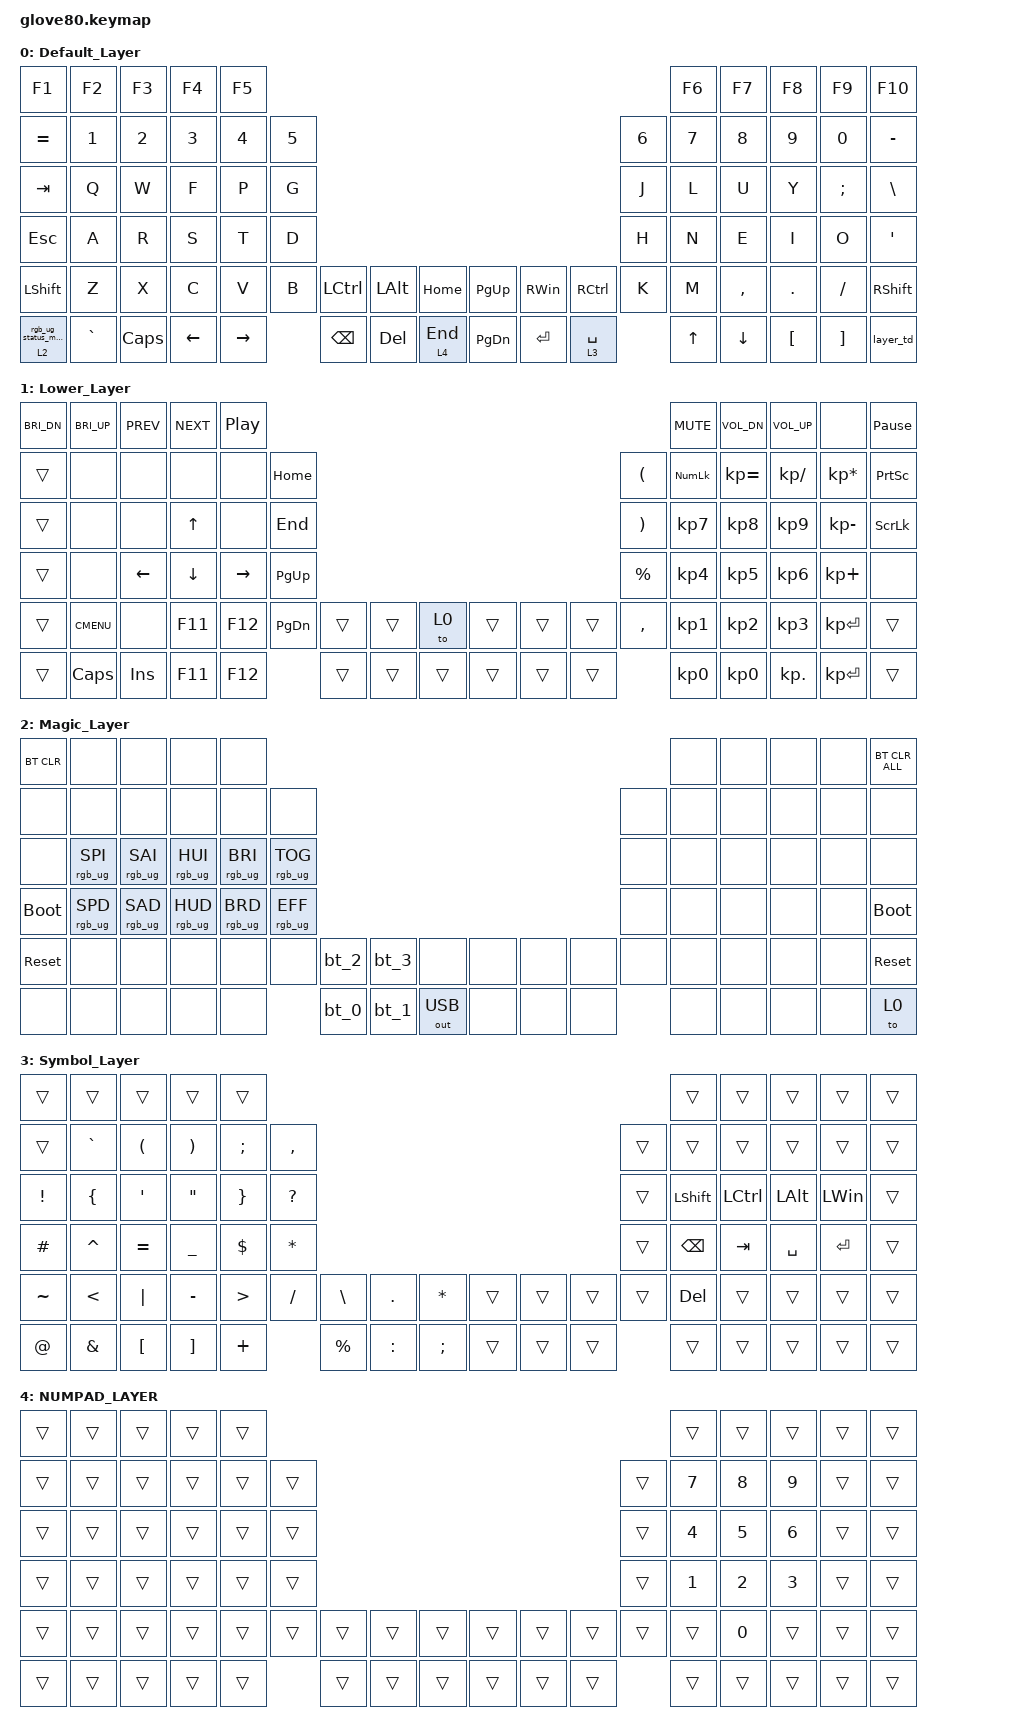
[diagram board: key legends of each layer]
/*
 * Copyright (c) 2020 The ZMK Contributors
 *
 * SPDX-License-Identifier: MIT
 */

#include <behaviors.dtsi>
#include <dt-bindings/zmk/bt.h>
#include <dt-bindings/zmk/keys.h>
#include <dt-bindings/zmk/outputs.h>
#include <dt-bindings/zmk/rgb.h>

#define HYPER LC(LS(LG(LALT)))

// layers

#define DEFAULT 0
#define LOWER 1
#define MAGIC 2
#define FACTORY_TEST 3

/ {
    behaviors {
        // For the "layer" key, it'd nice to be able to use it as either a shift or a toggle.
        // Configure it as a tap dance, so the first tap (or hold) is a &mo and the second tap is a &to

        layer_td: tap_dance_0 {
            compatible = "zmk,behavior-tap-dance";
            label = "LAYER_TAP_DANCE";
            #binding-cells = <0>;
            tapping-term-ms = <200>;
            bindings = <&mo 1>, <&to 1>;
        };

        magic: magic_hold_tap {
            compatible = "zmk,behavior-hold-tap";
            label = "MAGIC_HOLD_TAP";
            #binding-cells = <2>;
            flavor = "tap-preferred";
            tapping-term-ms = <200>;
            bindings = <&mo>, <&rgb_ug_status_macro>;
        };
    };

    macros {
        rgb_ug_status_macro: rgb_ug_status_macro_0 {
            label = "RGB_UG_STATUS";
            compatible = "zmk,behavior-macro";
            #binding-cells = <0>;
            bindings = <&rgb_ug RGB_STATUS>;
        };

        bt_0: bt_profile_macro_0 {
            label = "BT_0";
            compatible = "zmk,behavior-macro";
            #binding-cells = <0>;
            bindings = <&out OUT_BLE &bt BT_SEL 0>;
        };

        bt_1: bt_profile_macro_1 {
            label = "BT_1";
            compatible = "zmk,behavior-macro";
            #binding-cells = <0>;
            bindings = <&out OUT_BLE &bt BT_SEL 1>;
        };

        bt_2: bt_profile_macro_2 {
            label = "BT_2";
            compatible = "zmk,behavior-macro";
            #binding-cells = <0>;
            bindings = <&out OUT_BLE &bt BT_SEL 2>;
        };

        bt_3: bt_profile_macro_3 {
            label = "BT_3";
            compatible = "zmk,behavior-macro";
            #binding-cells = <0>;
            bindings = <&out OUT_BLE &bt BT_SEL 3>;
        };
    };

    combos { compatible = "zmk,combos"; };

    keymap {
        compatible = "zmk,keymap";

        Default_Layer {
            // ---------------------------------------------------------------------------------------------------------------------------------
            // |  F1   |  F2 |  F3 |  F4  |  F5  |                                                               |  F6   |  F7   |  F8  |   F9  |  F10 |
            // |  =    |  1  |  2  |  3   |  4   |  5   |                                                 |  6   |   7   |   8   |  9   |   0   |   -  |
            // |  TAB  |  Q  |  W  |  E   |  R   |  T   |                                                 |  Y   |   U   |   I   |  O   |   P   |   \  |
            // |  ESC  |  A  |  S  |  D   |  F   |  G   |                                                 |  H   |   J   |   K   |  L   |   ;   |   '  |
            // |   `   |  Z  |  X  |  C   |  V   |  B   | LSHFT | LCTRL | LOWER | | LGUI  | RCTRL | RSHFT |  N   |   M   |   ,   |  .   |   /   | PGUP |
            // | MAGIC | HOME| END | LEFT | RIGHT|      | BSPC  | DEL   | LALT  | | RALT  | RET   | SPACE |      |  UP   | DOWN  |  [   |   ]   | PGDN |

            bindings = <
&kp F1          &kp F2     &kp F3        &kp F4    &kp F5                                                                                                    &kp F6  &kp F7     &kp F8    &kp F9         &kp F10
&kp EQUAL       &kp N1     &kp N2        &kp N3    &kp N4     &kp N5                                                                                 &kp N6  &kp N7  &kp N8     &kp N9    &kp N0         &kp MINUS
&kp TAB         &kp Q      &kp W         &kp F     &kp P      &kp G                                                                                  &kp J   &kp L   &kp U      &kp Y     &kp SEMICOLON  &kp BSLH
&kp ESC         &kp A      &kp R         &kp S     &kp T      &kp D                                                                                  &kp H   &kp N   &kp E      &kp I     &kp O          &kp SQT
&kp LEFT_SHIFT  &kp Z      &kp X         &kp C     &kp V      &kp B   &kp LCTRL  &kp LEFT_ALT  &kp HOME   &kp PAGE_UP    &kp RIGHT_WIN  &kp RCTRL    &kp K   &kp M   &kp COMMA  &kp DOT   &kp FSLH       &kp RIGHT_SHIFT
&magic 2 0      &kp GRAVE  &kp CAPSLOCK  &kp LEFT  &kp RIGHT          &kp BSPC   &kp DEL       &lt 4 END  &kp PAGE_DOWN  &kp RET        &lt 3 SPACE          &kp UP  &kp DOWN   &kp LBKT  &kp RBKT       &layer_td
            >;
        };

        Lower_Layer {
            bindings = <
&kp C_BRI_DN  &kp C_BRI_UP  &kp C_PREV  &kp C_NEXT  &kp C_PP                                                                         &kp C_MUTE  &kp C_VOL_DN  &kp C_VOL_UP   &none            &kp PAUSE_BREAK
&trans        &none         &none       &none       &none      &kp HOME                                                   &kp LPAR   &kp KP_NUM  &kp KP_EQUAL  &kp KP_DIVIDE  &kp KP_MULTIPLY  &kp PSCRN
&trans        &none         &none       &kp UP      &none      &kp END                                                    &kp RPAR   &kp KP_N7   &kp KP_N8     &kp KP_N9      &kp KP_MINUS     &kp SLCK
&trans        &none         &kp LEFT    &kp DOWN    &kp RIGHT  &kp PG_UP                                                  &kp PRCNT  &kp KP_N4   &kp KP_N5     &kp KP_N6      &kp KP_PLUS      &none
&trans        &kp K_CMENU   &none       &kp F11     &kp F12    &kp PG_DN  &trans  &trans  &to 0   &trans  &trans  &trans  &kp COMMA  &kp KP_N1   &kp KP_N2     &kp KP_N3      &kp KP_ENTER     &trans
&trans        &kp CAPS      &kp INS     &kp F11     &kp F12               &trans  &trans  &trans  &trans  &trans  &trans             &kp KP_N0   &kp KP_N0     &kp KP_DOT     &kp KP_ENTER     &trans
            >;
        };

        Magic_Layer {
            bindings = <
&bt BT_CLR   &none            &none            &none            &none                                                                                     &none  &none  &none  &none  &bt BT_CLR_ALL
&none        &none            &none            &none            &none            &none                                                             &none  &none  &none  &none  &none  &none
&none        &rgb_ug RGB_SPI  &rgb_ug RGB_SAI  &rgb_ug RGB_HUI  &rgb_ug RGB_BRI  &rgb_ug RGB_TOG                                                   &none  &none  &none  &none  &none  &none
&bootloader  &rgb_ug RGB_SPD  &rgb_ug RGB_SAD  &rgb_ug RGB_HUD  &rgb_ug RGB_BRD  &rgb_ug RGB_EFF                                                   &none  &none  &none  &none  &none  &bootloader
&sys_reset   &none            &none            &none            &none            &none            &bt_2  &bt_3  &none         &none  &none  &none  &none  &none  &none  &none  &none  &sys_reset
&none        &none            &none            &none            &none                             &bt_0  &bt_1  &out OUT_USB  &none  &none  &none         &none  &none  &none  &none  &to 0
            >;
        };

        Symbol_Layer {
            bindings = <
&trans     &trans          &trans                &trans                 &trans                                                                                                &trans          &trans     &trans        &trans        &trans
&trans     &kp GRAVE       &kp LEFT_PARENTHESIS  &kp RIGHT_PARENTHESIS  &kp SEMI          &kp COMMA                                                                   &trans  &trans          &trans     &trans        &trans        &trans
&kp EXCL   &kp LEFT_BRACE  &kp SQT               &kp DQT                &kp RIGHT_BRACE   &kp QUESTION                                                                &trans  &kp LEFT_SHIFT  &kp LCTRL  &kp LEFT_ALT  &kp LEFT_WIN  &trans
&kp HASH   &kp CARET       &kp EQUAL             &kp UNDERSCORE         &kp DOLLAR        &kp STAR                                                                    &trans  &kp BACKSPACE   &kp TAB    &kp SPACE     &kp ENTER     &trans
&kp TILDE  &kp LESS_THAN   &kp PIPE              &kp MINUS              &kp GREATER_THAN  &kp FSLH      &kp BSLH     &kp DOT    &kp ASTERISK  &trans  &trans  &trans  &trans  &kp DELETE      &trans     &trans        &trans        &trans
&kp AT     &kp AMPS        &kp LBKT              &kp RBKT               &kp PLUS                        &kp PERCENT  &kp COLON  &kp SEMI      &trans  &trans  &trans          &trans          &trans     &trans        &trans        &trans
            >;
        };

        NUMPAD_LAYER {
            bindings = <
&trans  &trans  &trans  &trans  &trans                                                                  &trans        &trans        &trans        &trans  &trans
&trans  &trans  &trans  &trans  &trans  &trans                                                  &trans  &kp NUMBER_7  &kp NUMBER_8  &kp NUMBER_9  &trans  &trans
&trans  &trans  &trans  &trans  &trans  &trans                                                  &trans  &kp NUMBER_4  &kp NUMBER_5  &kp NUMBER_6  &trans  &trans
&trans  &trans  &trans  &trans  &trans  &trans                                                  &trans  &kp NUMBER_1  &kp NUMBER_2  &kp NUMBER_3  &trans  &trans
&trans  &trans  &trans  &trans  &trans  &trans  &trans  &trans  &trans  &trans  &trans  &trans  &trans  &trans        &kp NUMBER_0  &trans        &trans  &trans
&trans  &trans  &trans  &trans  &trans          &trans  &trans  &trans  &trans  &trans  &trans          &trans        &trans        &trans        &trans  &trans
            >;
        };
    };
};
